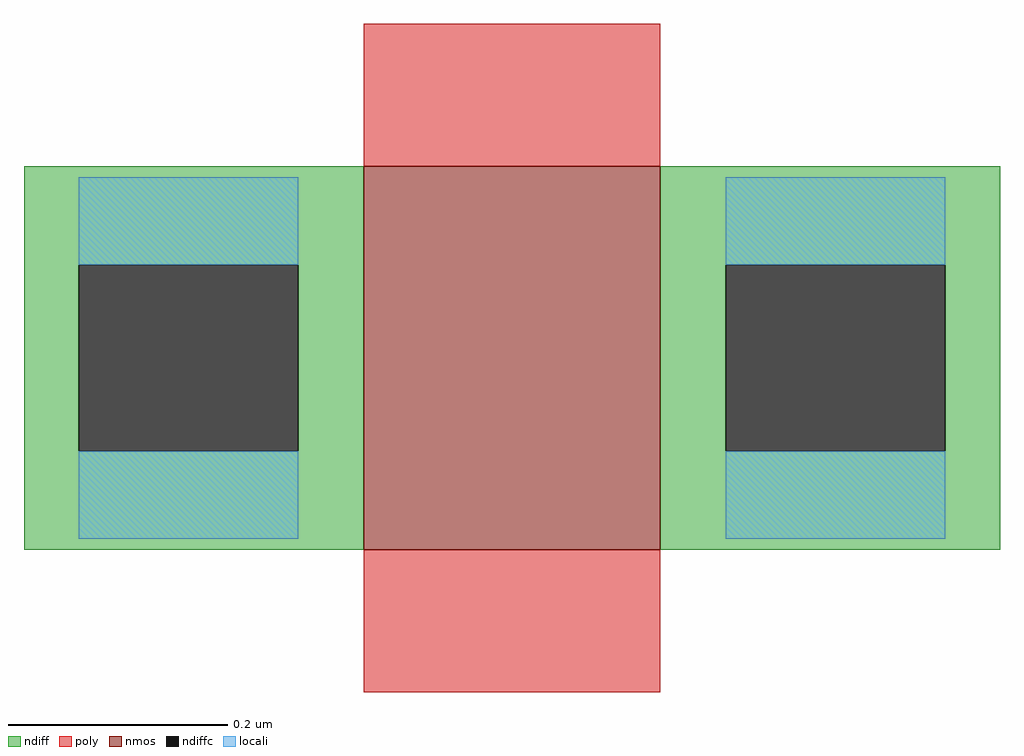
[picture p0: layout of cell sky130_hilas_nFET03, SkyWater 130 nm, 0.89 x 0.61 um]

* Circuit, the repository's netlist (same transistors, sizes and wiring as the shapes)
* Copyright 2020 The Hilas PDK Authors
* 
* This file is part of HILAS.
* 
* HILAS is free software: you can redistribute it and/or modify
* it under the terms of the GNU Lesser General Public License as published by
* the Free Software Foundation, version 3 of the License.
* 
* HILAS is distributed in the hope that it will be useful,
* but WITHOUT ANY WARRANTY; without even the implied warranty of
* MERCHANTABILITY or FITNESS FOR A PARTICULAR PURPOSE.  See the
* GNU Lesser General Public License for more details.
* 
* You should have received a copy of the GNU Lesser General Public License
* along with HILAS.  If not, see <https://www.gnu.org/licenses/>.
* 
* Licensed under the Lesser General Public License, Version 3.0 (the "License");
* you may not use this file except in compliance with the License.
* You may obtain a copy of the License at
* 
* https://www.gnu.org/licenses/lgpl-3.0.en.html
* 
* Unless required by applicable law or agreed to in writing, software
* distributed under the License is distributed on an "AS IS" BASIS,
* WITHOUT WARRANTIES OR CONDITIONS OF ANY KIND, either express or implied.
* See the License for the specific language governing permissions and
* limitations under the License.
* 
* SPDX-License-Identifier: LGPL-3.0
* 
* 

* NGSPICE file created from sky130_hilas_nFET03.ext - technology: sky130A


* Top level circuit sky130_hilas_nFET03

X0 a_54_n12# a_0_n38# a_n62_n12# SUB sky130_fd_pr__nfet_01v8 w=350000u l=270000u
.end

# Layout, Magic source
magic
tech sky130A
<< nmos >>
rect 31 13 58 48
<< ndiff >>
rect 0 39 31 48
rect 0 22 5 39
rect 25 22 31 39
rect 0 13 31 22
rect 58 39 89 48
rect 58 22 64 39
rect 84 22 89 39
rect 58 13 89 22
<< ndiffc >>
rect 5 22 25 39
rect 64 22 84 39
<< poly >>
rect 31 48 58 61
rect 31 0 58 13
<< locali >>
rect 5 39 25 47
rect 5 14 25 22
rect 64 39 84 47
rect 64 14 84 22
<< properties >>
string LEFsite unithd
string LEFclass CORE
string LEFsymmetry X Y R90
<< end >>
